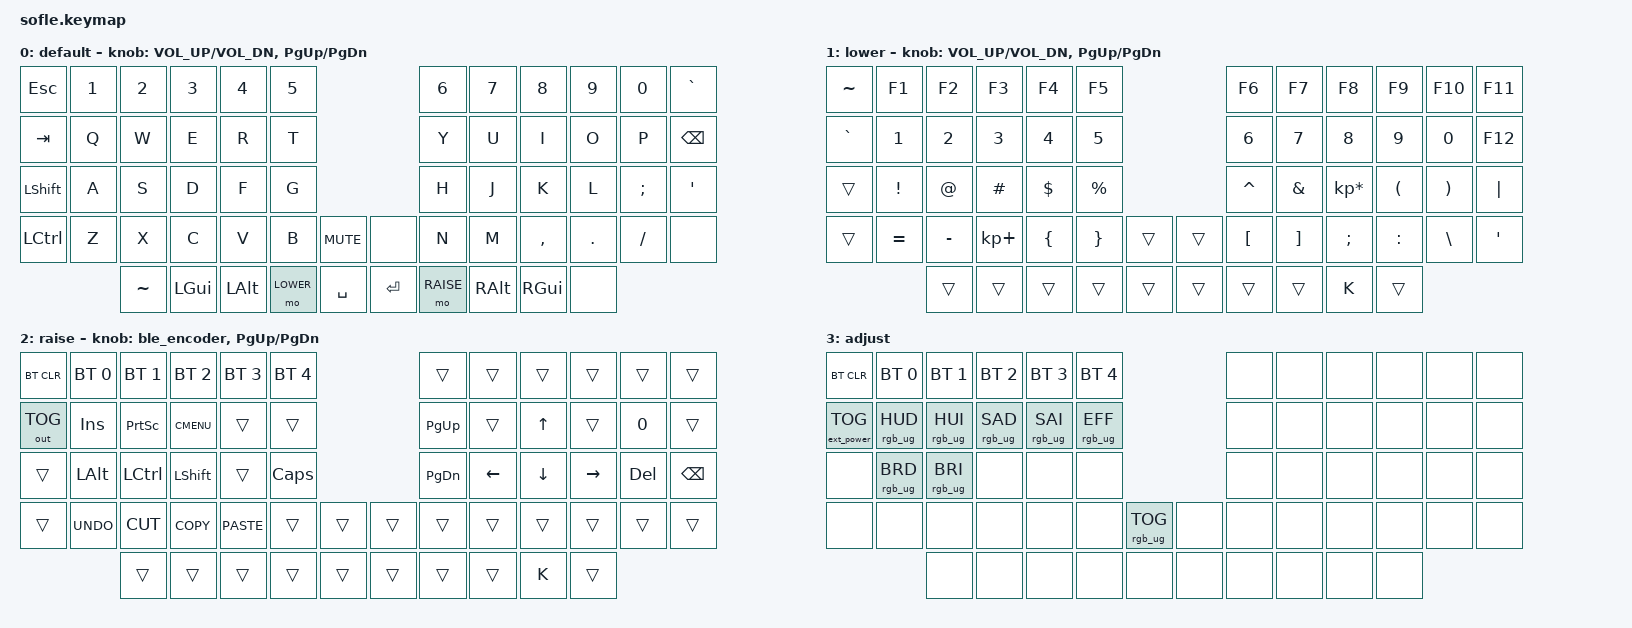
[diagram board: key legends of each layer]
/*
 * Copyright (c) 2020 The ZMK Contributors
 *
 * SPDX-License-Identifier: MIT
 */

#include <behaviors.dtsi>
#include <dt-bindings/zmk/bt.h>
#include <dt-bindings/zmk/ext_power.h>
#include <dt-bindings/zmk/keys.h>
#include <dt-bindings/zmk/outputs.h>
#include <dt-bindings/zmk/rgb.h>

#define BASE 0
#define LOWER 1
#define RAISE 2
#define ADJUST 3

/ {
    // Activate ADJUST layer by pressing raise and lower

    conditional_layers {
        compatible = "zmk,conditional-layers";

        adjust_layer {
            if-layers = <LOWER RAISE>;
            then-layer = <ADJUST>;
        };
    };

    behaviors {
        ble_encoder: ble_encoder {
            compatible = "zmk,behavior-sensor-rotate";
            label = "BLE_ENCODER";
            #sensor-binding-cells = <0>;
            bindings = <&bt BT_NXT>, <&bt BT_PRV>;
        };
    };

    keymap {
        compatible = "zmk,keymap";

        default_layer {
            display-name = "default";

            // ------------------------------------------------------------------------------------------------------------
            // |   `   |  1  |  2  |  3   |  4   |  5   |                   |  6   |  7    |  8    |  9   |   0   |       |
            // |  ESC  |  Q  |  W  |  E   |  R   |  T   |                   |  Y   |  U    |  I    |  O   |   P   | BKSPC |
            // |  TAB  |  A  |  S  |  D   |  F   |  G   |                   |  H   |  J    |  K    |  L   |   ;   |   '   |
            // | SHIFT |  Z  |  X  |  C   |  V   |  B   |  MUTE  |  |       |  N   |  M    |  ,    |  .   |   /   | SHIFT |
            //               | GUI | ALT  | CTRL | LOWER|  SPACE |  | ENTER | RAISE| CTRL  | ALT   | GUI  |

            bindings = <
&kp ESC         &kp N1  &kp N2     &kp N3        &kp N4        &kp N5                            &kp N6     &kp N7         &kp N8         &kp N9   &kp N0    &kp GRAVE
&kp TAB         &kp Q   &kp W      &kp E         &kp R         &kp T                             &kp Y      &kp U          &kp I          &kp O    &kp P     &kp BSPC
&kp LEFT_SHIFT  &kp A   &kp S      &kp D         &kp F         &kp G                             &kp H      &kp J          &kp K          &kp L    &kp SEMI  &kp SQT
&kp LCTRL       &kp Z   &kp X      &kp C         &kp V         &kp B      &kp C_MUTE    &none    &kp N      &kp M          &kp COMMA      &kp DOT  &kp FSLH  &none
                        &kp TILDE  &kp LEFT_GUI  &kp LEFT_ALT  &mo LOWER  &kp SPACE     &kp RET  &mo RAISE  &kp RIGHT_ALT  &kp RIGHT_GUI  &none
            >;

            sensor-bindings = <&inc_dec_kp C_VOL_UP C_VOL_DN &inc_dec_kp PG_UP PG_DN>;
        };

        lower_layer {
            display-name = "lower";

            // TODO: Some binds are waiting for shifted keycode support.
            // ------------------------------------------------------------------------------------------------------------
            // |       |  F1 |  F2 |  F3  |  F4  |  F5  |                   |  F6  |  F7   |  F8   |  F9  |  F10  |  F11  |
            // |   `   |  1  |  2  |  3   |  4   |  5   |                   |  6   |  7    |  8    |  9   |   0   |  F12  |
            // |       |  !  |  @  |  #   |  $   |  %   |                   |  ^   |  &    |  *    |  (   |   )   |   |   |
            // |       |  =  |  -  |  +   |  {   |  }   |        |  |       |  [   |  ]    |  ;    |  :   |   \   |       |
            //               |     |      |      |      |        |  |       |      |       |       |      |

            bindings = <
&kp TILDE  &kp F1     &kp F2     &kp F3       &kp F4    &kp F5                       &kp F6     &kp F7    &kp F8           &kp F9     &kp F10   &kp F11
&kp GRAVE  &kp N1     &kp N2     &kp N3       &kp N4    &kp N5                       &kp N6     &kp N7    &kp N8           &kp N9     &kp N0    &kp F12
&trans     &kp EXCL   &kp AT     &kp HASH     &kp DLLR  &kp PRCNT                    &kp CARET  &kp AMPS  &kp KP_MULTIPLY  &kp LPAR   &kp RPAR  &kp PIPE
&trans     &kp EQUAL  &kp MINUS  &kp KP_PLUS  &kp LBRC  &kp RBRC   &trans    &trans  &kp LBKT   &kp RBKT  &kp SEMI         &kp COLON  &kp BSLH  &kp SQT
                      &trans     &trans       &trans    &trans     &trans    &trans  &trans     &trans    &kp K            &trans
            >;

            sensor-bindings = <&inc_dec_kp C_VOL_UP C_VOL_DN &inc_dec_kp PG_UP PG_DN>;
        };

        raise_layer {
            display-name = "raise";

            // ------------------------------------------------------------------------------------------------------------
            // | BTCLR  | BT1  | BT2  |  BT3  |  BT4  |  BT5 |                |      |      |       |      |       |       |
            // | OUTTOG | INS  | PSCR | GUI   |       |      |                | PGUP |      |   ^   |      |       |       |
            // |        | ALT  | CTRL | SHIFT |       | CAPS |                | PGDN |   <- |   v   |  ->  |  DEL  | BKSPC |
            // |        | UNDO | CUT  | COPY  | PASTE |      |      |  |      |      |      |       |      |       |       |
            //                |      |       |       |      |      |  |      |      |      |       |      |

            bindings = <
&bt BT_CLR    &bt BT_SEL 0  &bt BT_SEL 1  &bt BT_SEL 2  &bt BT_SEL 3  &bt BT_SEL 4                    &trans     &trans    &trans    &trans     &trans   &trans
&out OUT_TOG  &kp INS       &kp PSCRN     &kp K_CMENU   &trans        &trans                          &kp PG_UP  &trans    &kp UP    &trans     &kp N0   &trans
&trans        &kp LALT      &kp LCTRL     &kp LSHFT     &trans        &kp CLCK                        &kp PG_DN  &kp LEFT  &kp DOWN  &kp RIGHT  &kp DEL  &kp BSPC
&trans        &kp K_UNDO    &kp K_CUT     &kp K_COPY    &kp K_PASTE   &trans        &trans    &trans  &trans     &trans    &trans    &trans     &trans   &trans
                            &trans        &trans        &trans        &trans        &trans    &trans  &trans     &trans    &kp K     &trans
            >;

            sensor-bindings = <&ble_encoder>, <&inc_dec_kp PG_UP PG_DN>;
        };

        adjust_layer {
            // ----------------------------------------------------------------------------------------------------------------------------
            // | BTCLR  |  BT1    |  BT2    |   BT3   |   BT4   |   BT5   |                  |      |      |       |      |       |       |
            // | EXTPWR | RGB_HUD | RGB_HUI | RGB_SAD | RGB_SAI | RGB_EFF |                  |      |      |       |      |       |       |
            // |        | RGB_BRD | RGB_BRI |         |         |         |                  |      |      |       |      |       |       |
            // |        |         |         |         |         |         | RGB_TOG | |      |      |      |       |      |       |       |
            //                    |         |         |         |         |         | |      |      |      |       |      |

            display-name = "adjust";
            bindings = <
&bt BT_CLR         &bt BT_SEL 0     &bt BT_SEL 1     &bt BT_SEL 2     &bt BT_SEL 3     &bt BT_SEL 4                               &none  &none  &none  &none  &none  &none
&ext_power EP_TOG  &rgb_ug RGB_HUD  &rgb_ug RGB_HUI  &rgb_ug RGB_SAD  &rgb_ug RGB_SAI  &rgb_ug RGB_EFF                            &none  &none  &none  &none  &none  &none
&none              &rgb_ug RGB_BRD  &rgb_ug RGB_BRI  &none            &none            &none                                      &none  &none  &none  &none  &none  &none
&none              &none            &none            &none            &none            &none            &rgb_ug RGB_TOG    &none  &none  &none  &none  &none  &none  &none
                                    &none            &none            &none            &none            &none              &none  &none  &none  &none  &none
            >;
        };
    };
};
